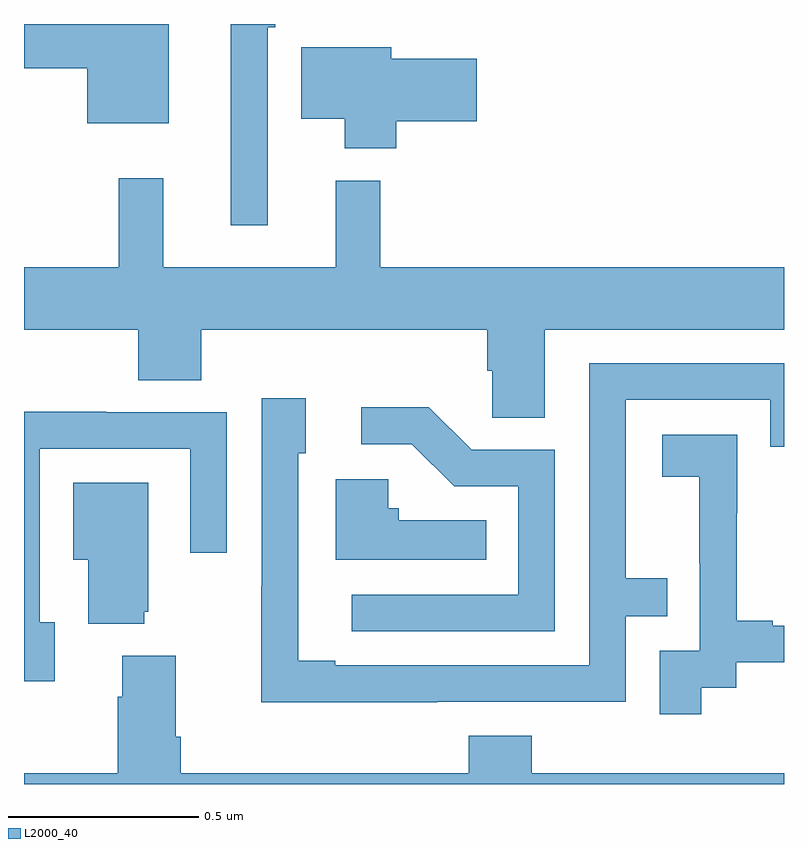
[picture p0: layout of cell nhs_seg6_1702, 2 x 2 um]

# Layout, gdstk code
import gdstk
lib = gdstk.Library(unit=1e-6, precision=1e-09)
def P(c, l, *ps):  # polygons
    for p in ps: c.add(gdstk.Polygon(p, *l))
L2000_40 = (2000, 40)

nhs_seg6_1702 = lib.new_cell('nhs_seg6_1702')
P(nhs_seg6_1702, L2000_40, [(133.641,921.491),(133.661,921.491),(133.661,921.5),(133.544,921.5),(133.544,920.97),(133.641,920.97)],
  [(133.381,921.5),(133,921.5),(133,921.383),(133.166,921.383),(133.166,921.239),(133.381,921.239)],
  [(133.979,921.244),(134.191,921.244),(134.191,921.409),(133.966,921.409),(133.966,921.439),(133.73,921.439),(133.73,921.251),(133.844,921.251),(133.844,921.173),(133.979,921.173)],
  [(134.371,920.696),(135,920.696),(135,920.86),(133.937,920.86),(133.937,921.088),(133.82,921.088),(133.82,920.86),(133.367,920.86),(133.367,921.094),(133.249,921.094),(133.249,920.86),(133,920.86),(133,920.696),(133.301,920.696),(133.301,920.563),(133.466,920.563),(133.466,920.696),(134.219,920.696),(134.219,920.587),(134.232,920.587),(134.232,920.464),(134.371,920.464)],
  [(134.087,919.716),(134.583,919.716),(134.583,919.941),(134.693,919.941),(134.693,920.042),(134.583,920.042),(134.583,920.511),(134.964,920.511),(134.964,920.388),(135,920.388),(135,920.607),(134.487,920.607),(134.487,919.812),(133.819,919.812),(133.819,919.825),(133.722,919.825),(133.722,920.37),(133.741,920.37),(133.741,920.515),(133.626,920.515),(133.626,920.021),(133.624,920.021),(133.624,919.715),(134.087,919.715)],
  [(134.397,920.379),(134.178,920.379),(134.065,920.492),(133.887,920.492),(133.887,920.394),(134.021,920.394),(134.132,920.283),(134.301,920.283),(134.301,919.998),(133.863,919.998),(133.863,919.902),(134.397,919.902)],
  [(133.081,919.926),(133.041,919.926),(133.041,920.382),(133.437,920.382),(133.437,920.109),(133.533,920.109),(133.533,920.478),(133.217,920.478),(133.217,920.48),(133,920.48),(133,919.77),(133.081,919.77)],
  [(134.782,919.753),(134.874,919.753),(134.874,919.821),(135,919.821),(135,919.917),(134.971,919.917),(134.971,919.93),(134.876,919.93),(134.876,920.213),(134.877,920.213),(134.877,920.419),(134.679,920.419),(134.679,920.309),(134.777,920.309),(134.777,920.081),(134.778,920.081),(134.778,919.851),(134.673,919.851),(134.673,919.683),(134.782,919.683)],
  [(134.216,920.194),(133.986,920.194),(133.986,920.226),(133.959,920.226),(133.959,920.302),(133.82,920.302),(133.82,920.09),(134.216,920.09)],
  [(133.316,919.953),(133.327,919.953),(133.327,920.293),(133.13,920.293),(133.13,920.09),(133.169,920.09),(133.169,919.922),(133.316,919.922)],
  [(135,919.528),(134.336,919.528),(134.336,919.627),(134.171,919.627),(134.171,919.528),(133.412,919.528),(133.412,919.624),(133.399,919.624),(133.399,919.837),(133.259,919.837),(133.259,919.73),(133.247,919.73),(133.247,919.528),(133,919.528),(133,919.5),(135,919.5)])

lib.write_gds('nhs_seg6_1702.gds')
